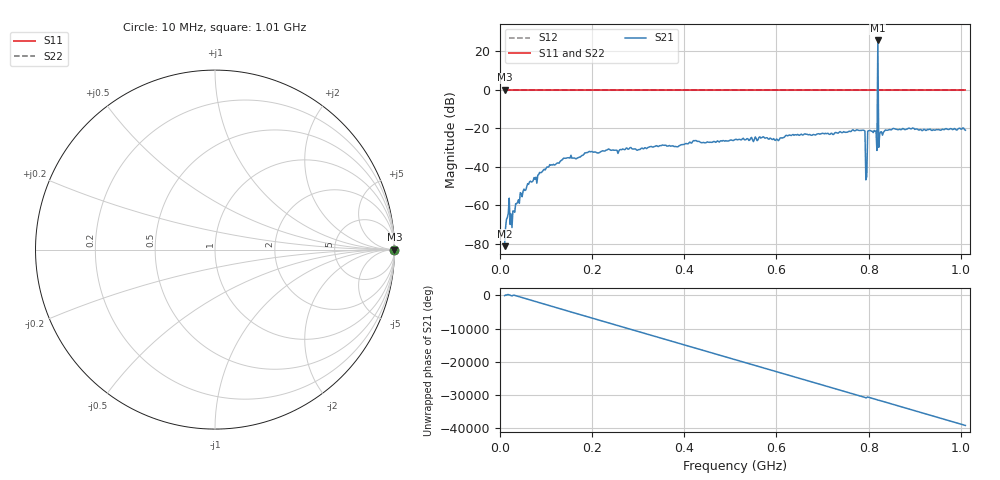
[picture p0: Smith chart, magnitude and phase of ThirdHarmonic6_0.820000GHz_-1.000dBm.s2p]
! 8/16/2025 3:16:17 AM
! C:\ANRITSUVNA\TEMP\TEMP.S2P
! CHANNEL.1
! TR.MEASUREMENT
! RAW.DATA
! RF.CORRECTION.OFF
! AVERAGING.OFF
! IF.BANDWIDTH: 5KHZ
! SWEEPTYPE:  FREQ.SWEEP(Linear)
! Reference Plane Port Info
! PORT:  PORT1  PORT2
! DISTANCE:  0  m  0  m
! TIME:  0  s  0  s
! PHASE.OFFSET:  0  deg.  0  deg.
! LOSS:  0  dB  0  dB
! REF.LOSS:  0  dB  0  dB
! REF.FREQ:  0  Hz  0  Hz
! Power Info
! POWER:  -20  dBm  -20  dBm
! EFF.POWER:  -20  dBm  -20  dBm
! SOURCE.ATTEN:  0  dB  0  dB
! TEST.ATTEN:  0  dB  0  dB
# GHZ S RI R 50.0
! FREQ.GHZ  S11RE  S11IM  S21RE  S21IM  S12RE  S12IM  S22RE  S22IM
!; PortSelection: Port_12
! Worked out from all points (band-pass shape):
!   501 points, 10 MHz to 1.01 GHz, reference 50 ohm
!   highest |S21| = 25.47 dB at 820 MHz (marker M1); lowest = -81.2 dB at 10 MHz (marker M2)
!   |S21| within 3 dB of the highest: 819.8948 MHz to 820.1083 MHz (213.5 kHz wide, 0.026 % of centre)
!   lowest |S11| = 0.0 dB at 10 MHz (marker M3)
!   |S11| at or under -10 dB: nowhere
!   |S22| runs from 0.0 to 0.0 dB; largest |S21 - S12| = 20
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0.01  1 0  4.04e-05 -7.7e-05  1 0  1 0
0.016  1 0  -0.000256 -0.000407  1 0  1 0
0.026  1 0  -0.000245 -0.0001  1 0  1 0
0.048  1 0  0.000356 0.00163  1 0  1 0
0.064  1 0  -0.00283 0.00285  1 0  1 0
0.106  1 0  -0.00747 -0.00657  1 0  1 0
0.178  1 0  -0.0195 -0.00213  1 0  1 0
0.344  1 0  0.0301 -0.0144  1 0  1 0
0.51  1 0  -0.0364 0.035  1 0  1 0
0.678  1 0  -0.0574 -0.0328  1 0  1 0
0.788  1 0  0.00529 0.0885  1 0  1 0
0.792  1 0  0.0205 -0.0812  1 0  1 0
0.796  1 0  -0.00247 -0.00511  1 0  1 0
0.798  1 0  0.0617 0.056  1 0  1 0
0.802  1 0  -0.0426 -0.0757  1 0  1 0
0.814  1 0  -0.0337 0.0756  1 0  1 0
0.816  1 0  0.0699 0.0472  1 0  1 0
0.82  1 0  -18.67 -1.945  1 0  1 0
0.824  1 0  0.0133 0.0696  1 0  1 0
0.826  1 0  0.0798 0.00123  1 0  1 0
0.844  1 0  0.0904 -0.00884  1 0  1 0
1.01  1 0  -0.0552 0.0691  1 0  1 0
